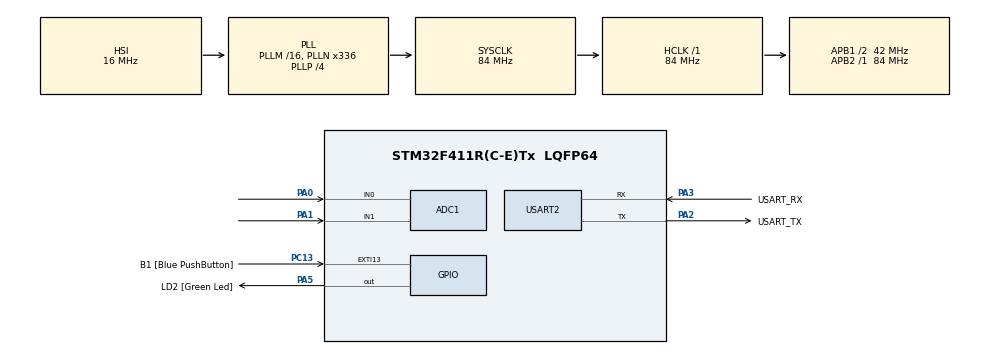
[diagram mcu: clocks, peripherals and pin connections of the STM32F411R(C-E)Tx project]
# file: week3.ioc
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ADC1.Channel-0\#ChannelRegularConversion=ADC_CHANNEL_0
ADC1.NbrOfConversionFlag=1
ADC1.Rank-0\#ChannelRegularConversion=1
ADC1.SamplingTime-0\#ChannelRegularConversion=ADC_SAMPLETIME_3CYCLES
ADC1.master=1
Mcu.Family=STM32F4
Mcu.Name=STM32F411R(C-E)Tx
Mcu.Package=LQFP64
NVIC.PriorityGroup=NVIC_PRIORITYGROUP_0
PA0-WKUP.Signal=ADCx_IN0
PA1.Signal=ADCx_IN1
PA13.GPIO_Label=TMS
PA13.Mode=Serial_Wire
PA13.Signal=SYS_JTMS-SWDIO
PA14.GPIO_Label=TCK
PA14.Mode=Serial_Wire
PA14.Signal=SYS_JTCK-SWCLK
PA2.GPIO_Label=USART_TX
PA2.Mode=Asynchronous
PA2.Signal=USART2_TX
PA3.GPIO_Label=USART_RX
PA3.Mode=Asynchronous
PA3.Signal=USART2_RX
PA5.GPIO_Label=LD2 [Green Led]
PA5.Signal=GPIO_Output
PB3.GPIO_Label=SWO
PB3.Signal=SYS_JTDO-SWO
PC13-ANTI_TAMP.GPIO_Label=B1 [Blue PushButton]
PC13-ANTI_TAMP.GPIO_ModeDefaultEXTI=GPIO_MODE_IT_FALLING
PC13-ANTI_TAMP.Signal=GPXTI13
PC14-OSC32_IN.Mode=LSE-External-Oscillator
PC14-OSC32_IN.Signal=RCC_OSC32_IN
PC15-OSC32_OUT.Mode=LSE-External-Oscillator
PC15-OSC32_OUT.Signal=RCC_OSC32_OUT
PH0\ -\ OSC_IN.Mode=HSE-External-Clock-Source
PH0\ -\ OSC_IN.Signal=RCC_OSC_IN
PH1\ -\ OSC_OUT.Mode=HSE-External-Clock-Source
PH1\ -\ OSC_OUT.Signal=RCC_OSC_OUT
ProjectManager.HeapSize=0x200
ProjectManager.StackSize=0x400
ProjectManager.TargetToolchain=STM32CubeIDE
RCC.48MHZClocksFreq_Value=84000000
RCC.AHBFreq_Value=84000000
RCC.APB1CLKDivider=RCC_HCLK_DIV2
RCC.APB1Freq_Value=42000000
RCC.APB1TimFreq_Value=84000000
RCC.APB2Freq_Value=84000000
RCC.APB2TimFreq_Value=84000000
RCC.CortexFreq_Value=84000000
RCC.FLatency-AdvancedSettings=FLASH_LATENCY_2
RCC.HCLKFreq_Value=84000000
RCC.HSE_VALUE=8000000
RCC.HSI_VALUE=16000000
RCC.PLLN=336
RCC.PLLP=RCC_PLLP_DIV4
RCC.SYSCLKFreq_VALUE=84000000
RCC.SYSCLKSource=RCC_SYSCLKSOURCE_PLLCLK
RCC.VCOOutputFreq_Value=336000000
SH.ADCx_IN0.0=ADC1_IN0,IN0
SH.ADCx_IN1.0=ADC1_IN1,IN1
USART2.VirtualMode=VM_ASYNC
VP_ADC1_TempSens_Input.Mode=IN-TempSens
board=NUCLEO-F411RE

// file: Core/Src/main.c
/* USER CODE BEGIN Header */
/**
  ******************************************************************************
  * @file           : main.c
  * @brief          : Main program body
  ******************************************************************************
  * @attention
  *
  * <h2><center>&copy; Copyright (c) 2021 STMicroelectronics.
  * All rights reserved.</center></h2>
  *
  * This software component is licensed by ST under BSD 3-Clause license,
  * the "License"; You may not use this file except in compliance with the
  * License. You may obtain a copy of the License at:
  *                        opensource.org/licenses/BSD-3-Clause
  *
  ******************************************************************************
  */
/* USER CODE END Header */
#include "main.h"

ADC_HandleTypeDef hadc1;

UART_HandleTypeDef huart2;

/* USER CODE BEGIN PV */
typedef struct
{
	ADC_ChannelConfTypeDef Config;
	uint32_t Data;
} ADCStructure;
#include "math.h";
ADCStructure ADCChannel[3]= {0};
/* USER CODE END PV */

void SystemClock_Config(void);
static void MX_GPIO_Init(void);
static void MX_USART2_UART_Init(void);
static void MX_ADC1_Init(void);
/* USER CODE BEGIN PFP */
void ADCPollingMethodUpdate();
void ADCPollingMethodInit();
/* USER CODE END PFP */

int main(void)
{

  /* MCU Configuration--------------------------------------------------------*/

  /* Reset of all peripherals, Initializes the Flash interface and the Systick. */
  HAL_Init();

  /* Configure the system clock */
  SystemClock_Config();

  /* Initialize all configured peripherals */
  MX_GPIO_Init();
  MX_USART2_UART_Init();
  MX_ADC1_Init();
  /* USER CODE BEGIN 2 */
ADCPollingMethodInit();
  /* USER CODE END 2 */

  /* Infinite loop */
  while (1)
  {
ADCPollingMethodUpdate();
  }
}

void SystemClock_Config(void)
{
  RCC_OscInitTypeDef RCC_OscInitStruct = {0};
  RCC_ClkInitTypeDef RCC_ClkInitStruct = {0};

  /** Configure the main internal regulator output voltage
  */
  __HAL_RCC_PWR_CLK_ENABLE();
  __HAL_PWR_VOLTAGESCALING_CONFIG(PWR_REGULATOR_VOLTAGE_SCALE1);
  /** Initializes the RCC Oscillators according to the specified parameters
  * in the RCC_OscInitTypeDef structure.
  */
  RCC_OscInitStruct.OscillatorType = RCC_OSCILLATORTYPE_HSI;
  RCC_OscInitStruct.HSIState = RCC_HSI_ON;
  RCC_OscInitStruct.HSICalibrationValue = RCC_HSICALIBRATION_DEFAULT;
  RCC_OscInitStruct.PLL.PLLState = RCC_PLL_ON;
  RCC_OscInitStruct.PLL.PLLSource = RCC_PLLSOURCE_HSI;
  RCC_OscInitStruct.PLL.PLLM = 16;
  RCC_OscInitStruct.PLL.PLLN = 336;
  RCC_OscInitStruct.PLL.PLLP = RCC_PLLP_DIV4;
  RCC_OscInitStruct.PLL.PLLQ = 4;
  if (HAL_RCC_OscConfig(&RCC_OscInitStruct) != HAL_OK)
  {
    Error_Handler();
  }
  /** Initializes the CPU, AHB and APB buses clocks
  */
  RCC_ClkInitStruct.ClockType = RCC_CLOCKTYPE_HCLK|RCC_CLOCKTYPE_SYSCLK
                              |RCC_CLOCKTYPE_PCLK1|RCC_CLOCKTYPE_PCLK2;
  RCC_ClkInitStruct.SYSCLKSource = RCC_SYSCLKSOURCE_PLLCLK;
  RCC_ClkInitStruct.AHBCLKDivider = RCC_SYSCLK_DIV1;
  RCC_ClkInitStruct.APB1CLKDivider = RCC_HCLK_DIV2;
  RCC_ClkInitStruct.APB2CLKDivider = RCC_HCLK_DIV1;

  if (HAL_RCC_ClockConfig(&RCC_ClkInitStruct, FLASH_LATENCY_2) != HAL_OK)
  {
    Error_Handler();
  }
}

static void MX_ADC1_Init(void)
{

  ADC_ChannelConfTypeDef sConfig = {0};

  /** Configure the global features of the ADC (Clock, Resolution, Data Alignment and number of conversion)
  */
  hadc1.Instance = ADC1;
  hadc1.Init.ClockPrescaler = ADC_CLOCK_SYNC_PCLK_DIV4;
  hadc1.Init.Resolution = ADC_RESOLUTION_12B;
  hadc1.Init.ScanConvMode = DISABLE;
  hadc1.Init.ContinuousConvMode = DISABLE;
  hadc1.Init.DiscontinuousConvMode = DISABLE;
  hadc1.Init.ExternalTrigConvEdge = ADC_EXTERNALTRIGCONVEDGE_NONE;
  hadc1.Init.ExternalTrigConv = ADC_SOFTWARE_START;
  hadc1.Init.DataAlign = ADC_DATAALIGN_RIGHT;
  hadc1.Init.NbrOfConversion = 1;
  hadc1.Init.DMAContinuousRequests = DISABLE;
  hadc1.Init.EOCSelection = ADC_EOC_SINGLE_CONV;
  if (HAL_ADC_Init(&hadc1) != HAL_OK)
  {
    Error_Handler();
  }
  /** Configure for the selected ADC regular channel its corresponding rank in the sequencer and its sample time.
  */
  sConfig.Channel = ADC_CHANNEL_0;
  sConfig.Rank = 1;
  sConfig.SamplingTime = ADC_SAMPLETIME_3CYCLES;
  if (HAL_ADC_ConfigChannel(&hadc1, &sConfig) != HAL_OK)
  {
    Error_Handler();
  }

}

static void MX_USART2_UART_Init(void)
{

  huart2.Instance = USART2;
  huart2.Init.BaudRate = 115200;
  huart2.Init.WordLength = UART_WORDLENGTH_8B;
  huart2.Init.StopBits = UART_STOPBITS_1;
  huart2.Init.Parity = UART_PARITY_NONE;
  huart2.Init.Mode = UART_MODE_TX_RX;
  huart2.Init.HwFlowCtl = UART_HWCONTROL_NONE;
  huart2.Init.OverSampling = UART_OVERSAMPLING_16;
  if (HAL_UART_Init(&huart2) != HAL_OK)
  {
    Error_Handler();
  }

}

static void MX_GPIO_Init(void)
{
  GPIO_InitTypeDef GPIO_InitStruct = {0};

  /* GPIO Ports Clock Enable */
  __HAL_RCC_GPIOC_CLK_ENABLE();
  __HAL_RCC_GPIOH_CLK_ENABLE();
  __HAL_RCC_GPIOA_CLK_ENABLE();
  __HAL_RCC_GPIOB_CLK_ENABLE();

  /*Configure GPIO pin Output Level */
  HAL_GPIO_WritePin(LD2_GPIO_Port, LD2_Pin, GPIO_PIN_RESET);

  /*Configure GPIO pin : B1_Pin */
  GPIO_InitStruct.Pin = B1_Pin;
  GPIO_InitStruct.Mode = GPIO_MODE_IT_FALLING;
  GPIO_InitStruct.Pull = GPIO_NOPULL;
  HAL_GPIO_Init(B1_GPIO_Port, &GPIO_InitStruct);

  /*Configure GPIO pin : LD2_Pin */
  GPIO_InitStruct.Pin = LD2_Pin;
  GPIO_InitStruct.Mode = GPIO_MODE_OUTPUT_PP;
  GPIO_InitStruct.Pull = GPIO_NOPULL;
  GPIO_InitStruct.Speed = GPIO_SPEED_FREQ_LOW;
  HAL_GPIO_Init(LD2_GPIO_Port, &GPIO_InitStruct);

}

/* USER CODE BEGIN 4 */
void ADCPollingMethodInit()
{
	//PA0 -ADC IN0
	ADCChannel[0].Config.Channel = ADC_CHANNEL_0;
	ADCChannel[0].Config.Rank = 1;
	ADCChannel[0].Config.SamplingTime = ADC_SAMPLETIME_3CYCLES;

	//PA1 -ADC IN1
	ADCChannel[1].Config.Channel = ADC_CHANNEL_1;
	ADCChannel[1].Config.Rank = 1;
	ADCChannel[1].Config.SamplingTime = ADC_SAMPLETIME_3CYCLES;

	//Temp
	ADCChannel[2].Config.Channel = ADC_CHANNEL_TEMPSENSOR;
	ADCChannel[2].Config.Rank = 1;
	ADCChannel[2].Config.SamplingTime = ADC_SAMPLETIME_3CYCLES;
}
void ADCPollingMethodUpdate()
{
	for (int i = 0; i <3; i++)
	{
	//select channel
	HAL_ADC_ConfigChannel(&hadc1,&ADCChannel[i].Config);
	//ADC Sampling, Convert
	HAL_ADC_Start(&hadc1);
	//wait ADC
	if(HAL_ADC_PollForConversion(&hadc1, 10) == HAL_OK)
	{
		//Get Value
		ADCChannel[i].Data = HAL_ADC_GetValue(&hadc1);

	}
	//Stop
	HAL_ADC_Stop(&hadc1);
	}
}
/* USER CODE END 4 */

void Error_Handler(void)
{
  __disable_irq();
  while (1)
  {
  }
}

/************************ (C) COPYRIGHT STMicroelectronics *****END OF FILE****/
